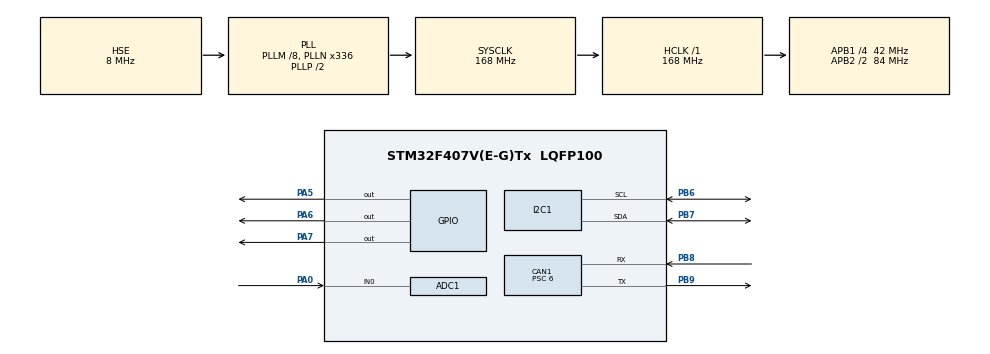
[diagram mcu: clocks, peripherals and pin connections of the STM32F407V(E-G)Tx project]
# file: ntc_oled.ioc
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ADC1.Channel-0\#ChannelRegularConversion=ADC_CHANNEL_0
ADC1.ContinuousConvMode=ENABLE
ADC1.NbrOfConversionFlag=1
ADC1.Rank-0\#ChannelRegularConversion=1
ADC1.SamplingTime-0\#ChannelRegularConversion=ADC_SAMPLETIME_480CYCLES
ADC1.master=1
CAN1.BS1=CAN_BS1_11TQ
CAN1.BS2=CAN_BS2_2TQ
CAN1.CalculateBaudRate=500000
CAN1.CalculateTimeBit=2000
CAN1.CalculateTimeQuantum=142.85714285714286
CAN1.NART=ENABLE
CAN1.Prescaler=6
Mcu.Family=STM32F4
Mcu.Name=STM32F407V(E-G)Tx
Mcu.Package=LQFP100
NVIC.PriorityGroup=NVIC_PRIORITYGROUP_0
PA0-WKUP.Signal=ADCx_IN0
PA5.GPIO_ModeDefaultOutputPP=GPIO_MODE_OUTPUT_PP
PA5.Signal=GPIO_Output
PA6.Signal=GPIO_Output
PA7.Signal=GPIO_Output
PB6.Mode=I2C
PB6.Signal=I2C1_SCL
PB7.Mode=I2C
PB7.Signal=I2C1_SDA
PB8.Mode=CAN_Activate
PB8.Signal=CAN1_RX
PB9.Mode=CAN_Activate
PB9.Signal=CAN1_TX
PH0-OSC_IN.Mode=HSE-External-Oscillator
PH0-OSC_IN.Signal=RCC_OSC_IN
PH1-OSC_OUT.Mode=HSE-External-Oscillator
PH1-OSC_OUT.Signal=RCC_OSC_OUT
ProjectManager.HeapSize=0x200
ProjectManager.StackSize=0x400
ProjectManager.TargetToolchain=STM32CubeIDE
RCC.48MHZClocksFreq_Value=48000000
RCC.AHBFreq_Value=168000000
RCC.APB1CLKDivider=RCC_HCLK_DIV4
RCC.APB1Freq_Value=42000000
RCC.APB1TimFreq_Value=84000000
RCC.APB2CLKDivider=RCC_HCLK_DIV2
RCC.APB2Freq_Value=84000000
RCC.APB2TimFreq_Value=168000000
RCC.CortexFreq_Value=168000000
RCC.HCLKFreq_Value=168000000
RCC.HSE_VALUE=8000000
RCC.HSI_VALUE=16000000
RCC.LSE_VALUE=32768
RCC.PLLM=8
RCC.PLLN=336
RCC.PLLQ=7
RCC.PLLSourceVirtual=RCC_PLLSOURCE_HSE
RCC.SYSCLKFreq_VALUE=168000000
RCC.SYSCLKSource=RCC_SYSCLKSOURCE_PLLCLK
RCC.VCOOutputFreq_Value=336000000
SH.ADCx_IN0.0=ADC1_IN0,IN0
board=STM32F407G-DISC1

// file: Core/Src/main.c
/* USER CODE BEGIN Header */
/**
  ******************************************************************************
  * @file           : main.c
  * @brief          : Main program body
  ******************************************************************************
  * @attention
  *
  * Copyright (c) 2026 STMicroelectronics.
  * All rights reserved.
  *
  * This software is licensed under terms that can be found in the LICENSE file
  * in the root directory of this software component.
  * If no LICENSE file comes with this software, it is provided AS-IS.
  *
  ******************************************************************************
  */
/* USER CODE END Header */
#include "main.h"

/* USER CODE BEGIN Includes */
#include "ssd1306.h"
#include "ssd1306_fonts.h"
#include <stdio.h>
#include <math.h>

#include "ina219.h"
/* USER CODE END Includes */

ADC_HandleTypeDef hadc1;

CAN_HandleTypeDef hcan1;

I2C_HandleTypeDef hi2c1;

/* USER CODE BEGIN PV */
CAN_TxHeaderTypeDef TxHeader;
CAN_FilterTypeDef CAN_Filter;

uint8_t TxData[8];
uint32_t TxMailbox;
/* USER CODE END PV */

void SystemClock_Config(void);
static void MX_GPIO_Init(void);
static void MX_ADC1_Init(void);
static void MX_I2C1_Init(void);
static void MX_CAN1_Init(void);

/* USER CODE BEGIN 0 */
uint32_t adcValue;
float ntcVoltage;
float resistance;
float temperature;

float batteryVoltage;   // from INA219
float batteryCurrent;   // from INA219
char str[32];

/* ---- Fault Limits ---- */
#define OVER_VOLTAGE_LIMIT   4.25f
#define UNDER_VOLTAGE_LIMIT  3.00f
#define OVER_CURRENT_LIMIT   1000.0f   // mA
#define OVER_TEMP_LIMIT      60.0f     // °C

/* ---- Fault Variables ---- */
uint8_t faultFlag = 0;
uint8_t faultCode = 0;
char faultMsg[20];

/* USER CODE END 0 */

int main(void)
{

  /* MCU Configuration--------------------------------------------------------*/

  /* Reset of all peripherals, Initializes the Flash interface and the Systick. */
  HAL_Init();

  /* Configure the system clock */
  SystemClock_Config();

  /* Initialize all configured peripherals */
  MX_GPIO_Init();
  MX_ADC1_Init();
  MX_I2C1_Init();
  MX_CAN1_Init();
  /* USER CODE BEGIN 2 */
  ssd1306_Init();

  INA219_Init(&hi2c1);

  /* Configure CAN Filter */
  CAN_Filter.FilterBank = 0;
  CAN_Filter.FilterMode = CAN_FILTERMODE_IDMASK;
  CAN_Filter.FilterScale = CAN_FILTERSCALE_32BIT;

  CAN_Filter.FilterIdHigh = 0x0000;
  CAN_Filter.FilterIdLow = 0x0000;
  CAN_Filter.FilterMaskIdHigh = 0x0000;
  CAN_Filter.FilterMaskIdLow = 0x0000;

  CAN_Filter.FilterFIFOAssignment = CAN_FILTER_FIFO0;
  CAN_Filter.FilterActivation = ENABLE;

  if (HAL_CAN_ConfigFilter(&hcan1, &CAN_Filter) != HAL_OK)
  {
      Error_Handler();
  }

  if (HAL_CAN_Start(&hcan1) != HAL_OK)
  {
      Error_Handler();
  }

  /* Configure TX Header */
  TxHeader.StdId = 0x321;
  TxHeader.ExtId = 0;
  TxHeader.IDE = CAN_ID_STD;
  TxHeader.RTR = CAN_RTR_DATA;
  TxHeader.DLC = 8;
  TxHeader.TransmitGlobalTime = DISABLE;

  /* USER CODE END 2 */

  /* Infinite loop */
  /* USER CODE BEGIN WHILE */
  while (1)
  {
	  HAL_ADC_Start(&hadc1);
	      HAL_ADC_PollForConversion(&hadc1, HAL_MAX_DELAY);

	      adcValue = HAL_ADC_GetValue(&hadc1);

	      ntcVoltage = (adcValue * 3.3f) / 4095.0f;

	      if(ntcVoltage > 3.29f)
	          ntcVoltage = 3.29f;

	      resistance = (10000.0f * ntcVoltage) / (3.3f - ntcVoltage);
	      temperature = 1.0f /
	                    ((1.0f / 298.15f) +
	                     (1.0f / 3950.0f) *
	                     logf(resistance / 10000.0f))
	                    - 273.15f;

	      /* -------- INA219 -------- */
	      batteryVoltage = INA219_GetBusVoltage_V();
	      batteryCurrent = INA219_GetCurrent_mA();

	      /* -------- Fault Detection -------- */
	      faultFlag = 0;
	      faultCode = 0;
	      sprintf(faultMsg, "NORMAL");

	      if (batteryVoltage > OVER_VOLTAGE_LIMIT)
	      {
	          faultFlag = 1;
	          faultCode = 1;
	          sprintf(faultMsg, "OVERVOLTAGE");
	      }
	      else if (batteryVoltage < UNDER_VOLTAGE_LIMIT)
	      {
	          faultFlag = 1;
	          faultCode = 2;
	          sprintf(faultMsg, "UNDERVOLTAGE");
	      }
	      else if (fabsf(batteryCurrent) > OVER_CURRENT_LIMIT)
	      {
	          faultFlag = 1;
	          faultCode = 3;
	          sprintf(faultMsg, "OVERCURRENT");
	      }
	      else if (temperature > OVER_TEMP_LIMIT)
	      {
	          faultFlag = 1;
	          faultCode = 4;
	          sprintf(faultMsg, "OVERTEMP");
	      }

	      /* -------- Status Indicators -------- */
	      if (faultFlag)
	      {
	          // Fault condition
	          HAL_GPIO_WritePin(GPIOA, GPIO_PIN_5, GPIO_PIN_SET);   // Buzzer ON
	          HAL_GPIO_WritePin(GPIOA, GPIO_PIN_6, GPIO_PIN_RESET); // Green LED OFF
	          HAL_GPIO_WritePin(GPIOA, GPIO_PIN_7, GPIO_PIN_SET);   // Red LED ON
	      }
	      else
	      {
	          // Normal condition
	          HAL_GPIO_WritePin(GPIOA, GPIO_PIN_5, GPIO_PIN_RESET); // Buzzer OFF
	          HAL_GPIO_WritePin(GPIOA, GPIO_PIN_6, GPIO_PIN_SET);   // Green LED ON
	          HAL_GPIO_WritePin(GPIOA, GPIO_PIN_7, GPIO_PIN_RESET); // Red LED OFF
	      }
	      ssd1306_Fill(Black);
	      sprintf(str, "Temp: %.1f C", temperature);
	      ssd1306_SetCursor(0, 0);
	      ssd1306_WriteString(str, Font_7x10, White);

	      sprintf(str, "Volt: %.2f V", batteryVoltage);
	      ssd1306_SetCursor(0, 16);
	      ssd1306_WriteString(str, Font_7x10, White);

	      sprintf(str, "Curr: %.0f mA", batteryCurrent);
	      ssd1306_SetCursor(0, 32);
	      ssd1306_WriteString(str, Font_7x10, White);

	      sprintf(str, "FAULT:%s", faultMsg);
	      ssd1306_SetCursor(0, 48);
	      ssd1306_WriteString(str, Font_6x8, White);

	      ssd1306_UpdateScreen();

	      /* -------- Prepare CAN Data -------- */
	      uint16_t voltage = (uint16_t)(batteryVoltage * 100);
	      uint16_t current = (uint16_t)(fabsf(batteryCurrent));
	      uint16_t temp = (uint16_t)(temperature * 10);

	      TxData[0] = (voltage >> 8) & 0xFF;
	      TxData[1] = voltage & 0xFF;

	      TxData[2] = (current >> 8) & 0xFF;
	      TxData[3] = current & 0xFF;

	      TxData[4] = (temp >> 8) & 0xFF;
	      TxData[5] = temp & 0xFF;

	      TxData[6] = faultCode;
	      TxData[7] = 0;

	      /* -------- Send CAN Frame -------- */
	      if (HAL_CAN_AddTxMessage(&hcan1, &TxHeader, TxData, &TxMailbox) != HAL_OK)
	      {
	          Error_Handler();
	      }

	      HAL_Delay(500);
    /* USER CODE END WHILE */

  }
}

void SystemClock_Config(void)
{
  RCC_OscInitTypeDef RCC_OscInitStruct = {0};
  RCC_ClkInitTypeDef RCC_ClkInitStruct = {0};

  /** Configure the main internal regulator output voltage
  */
  __HAL_RCC_PWR_CLK_ENABLE();
  __HAL_PWR_VOLTAGESCALING_CONFIG(PWR_REGULATOR_VOLTAGE_SCALE1);

  /** Initializes the RCC Oscillators according to the specified parameters
  * in the RCC_OscInitTypeDef structure.
  */
  RCC_OscInitStruct.OscillatorType = RCC_OSCILLATORTYPE_HSE;
  RCC_OscInitStruct.HSEState = RCC_HSE_ON;
  RCC_OscInitStruct.PLL.PLLState = RCC_PLL_ON;
  RCC_OscInitStruct.PLL.PLLSource = RCC_PLLSOURCE_HSE;
  RCC_OscInitStruct.PLL.PLLM = 8;
  RCC_OscInitStruct.PLL.PLLN = 336;
  RCC_OscInitStruct.PLL.PLLP = RCC_PLLP_DIV2;
  RCC_OscInitStruct.PLL.PLLQ = 7;
  if (HAL_RCC_OscConfig(&RCC_OscInitStruct) != HAL_OK)
  {
    Error_Handler();
  }

  /** Initializes the CPU, AHB and APB buses clocks
  */
  RCC_ClkInitStruct.ClockType = RCC_CLOCKTYPE_HCLK|RCC_CLOCKTYPE_SYSCLK
                              |RCC_CLOCKTYPE_PCLK1|RCC_CLOCKTYPE_PCLK2;
  RCC_ClkInitStruct.SYSCLKSource = RCC_SYSCLKSOURCE_PLLCLK;
  RCC_ClkInitStruct.AHBCLKDivider = RCC_SYSCLK_DIV1;
  RCC_ClkInitStruct.APB1CLKDivider = RCC_HCLK_DIV4;
  RCC_ClkInitStruct.APB2CLKDivider = RCC_HCLK_DIV2;

  if (HAL_RCC_ClockConfig(&RCC_ClkInitStruct, FLASH_LATENCY_5) != HAL_OK)
  {
    Error_Handler();
  }
}

static void MX_ADC1_Init(void)
{

  ADC_ChannelConfTypeDef sConfig = {0};

  /** Configure the global features of the ADC (Clock, Resolution, Data Alignment and number of conversion)
  */
  hadc1.Instance = ADC1;
  hadc1.Init.ClockPrescaler = ADC_CLOCK_SYNC_PCLK_DIV4;
  hadc1.Init.Resolution = ADC_RESOLUTION_12B;
  hadc1.Init.ScanConvMode = DISABLE;
  hadc1.Init.ContinuousConvMode = ENABLE;
  hadc1.Init.DiscontinuousConvMode = DISABLE;
  hadc1.Init.ExternalTrigConvEdge = ADC_EXTERNALTRIGCONVEDGE_NONE;
  hadc1.Init.ExternalTrigConv = ADC_SOFTWARE_START;
  hadc1.Init.DataAlign = ADC_DATAALIGN_RIGHT;
  hadc1.Init.NbrOfConversion = 1;
  hadc1.Init.DMAContinuousRequests = DISABLE;
  hadc1.Init.EOCSelection = ADC_EOC_SINGLE_CONV;
  if (HAL_ADC_Init(&hadc1) != HAL_OK)
  {
    Error_Handler();
  }

  /** Configure for the selected ADC regular channel its corresponding rank in the sequencer and its sample time.
  */
  sConfig.Channel = ADC_CHANNEL_0;
  sConfig.Rank = 1;
  sConfig.SamplingTime = ADC_SAMPLETIME_480CYCLES;
  if (HAL_ADC_ConfigChannel(&hadc1, &sConfig) != HAL_OK)
  {
    Error_Handler();
  }

}

static void MX_CAN1_Init(void)
{

  hcan1.Instance = CAN1;
  hcan1.Init.Prescaler = 6;
  hcan1.Init.Mode = CAN_MODE_NORMAL;
  hcan1.Init.SyncJumpWidth = CAN_SJW_1TQ;
  hcan1.Init.TimeSeg1 = CAN_BS1_11TQ;
  hcan1.Init.TimeSeg2 = CAN_BS2_2TQ;
  hcan1.Init.TimeTriggeredMode = DISABLE;
  hcan1.Init.AutoBusOff = DISABLE;
  hcan1.Init.AutoWakeUp = DISABLE;
  hcan1.Init.AutoRetransmission = ENABLE;
  hcan1.Init.ReceiveFifoLocked = DISABLE;
  hcan1.Init.TransmitFifoPriority = DISABLE;
  if (HAL_CAN_Init(&hcan1) != HAL_OK)
  {
    Error_Handler();
  }

}

static void MX_I2C1_Init(void)
{

  hi2c1.Instance = I2C1;
  hi2c1.Init.ClockSpeed = 100000;
  hi2c1.Init.DutyCycle = I2C_DUTYCYCLE_2;
  hi2c1.Init.OwnAddress1 = 0;
  hi2c1.Init.AddressingMode = I2C_ADDRESSINGMODE_7BIT;
  hi2c1.Init.DualAddressMode = I2C_DUALADDRESS_DISABLE;
  hi2c1.Init.OwnAddress2 = 0;
  hi2c1.Init.GeneralCallMode = I2C_GENERALCALL_DISABLE;
  hi2c1.Init.NoStretchMode = I2C_NOSTRETCH_DISABLE;
  if (HAL_I2C_Init(&hi2c1) != HAL_OK)
  {
    Error_Handler();
  }

}

static void MX_GPIO_Init(void)
{
  GPIO_InitTypeDef GPIO_InitStruct = {0};
  /* USER CODE BEGIN MX_GPIO_Init_1 */

  GPIO_InitStruct.Pin = GPIO_PIN_5;
  GPIO_InitStruct.Mode = GPIO_MODE_OUTPUT_PP;
  GPIO_InitStruct.Pull = GPIO_NOPULL;
  GPIO_InitStruct.Speed = GPIO_SPEED_FREQ_LOW;
  HAL_GPIO_Init(GPIOA, &GPIO_InitStruct);
  /* USER CODE END MX_GPIO_Init_1 */

  /* GPIO Ports Clock Enable */
  __HAL_RCC_GPIOH_CLK_ENABLE();
  __HAL_RCC_GPIOA_CLK_ENABLE();
  __HAL_RCC_GPIOB_CLK_ENABLE();

  /*Configure GPIO pin Output Level */
  HAL_GPIO_WritePin(GPIOA, GPIO_PIN_5|GPIO_PIN_6|GPIO_PIN_7, GPIO_PIN_RESET);

  /*Configure GPIO pins : PA5 PA6 PA7 */
  GPIO_InitStruct.Pin = GPIO_PIN_5|GPIO_PIN_6|GPIO_PIN_7;
  GPIO_InitStruct.Mode = GPIO_MODE_OUTPUT_PP;
  GPIO_InitStruct.Pull = GPIO_NOPULL;
  GPIO_InitStruct.Speed = GPIO_SPEED_FREQ_LOW;
  HAL_GPIO_Init(GPIOA, &GPIO_InitStruct);

}

void Error_Handler(void)
{
  __disable_irq();
  while (1)
  {
  }
}
